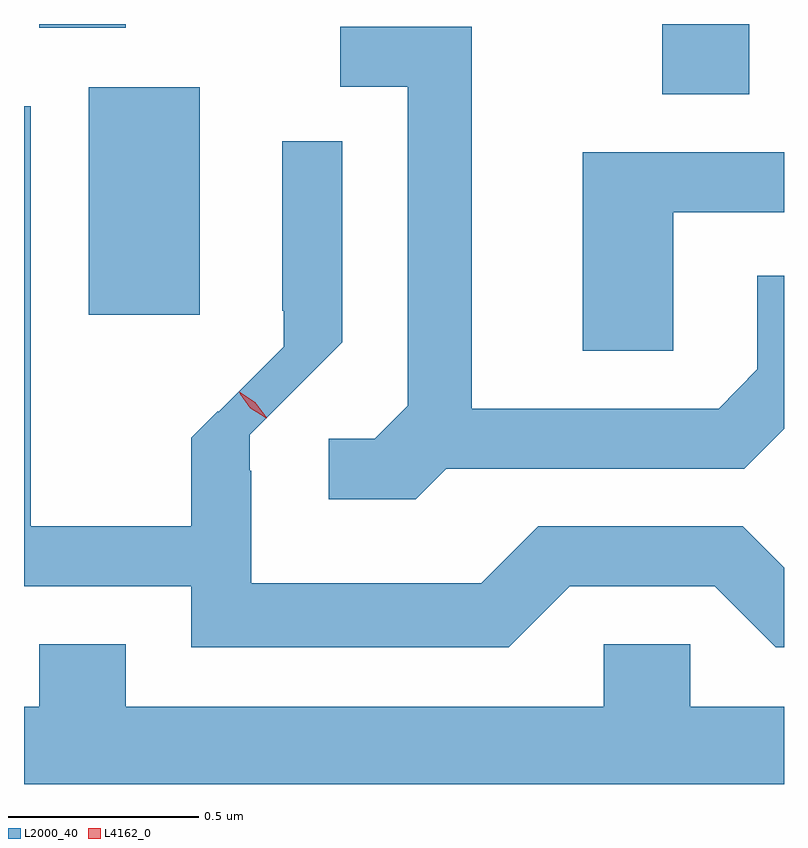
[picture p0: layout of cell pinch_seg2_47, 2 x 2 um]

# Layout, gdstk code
import gdstk
lib = gdstk.Library(unit=1e-6, precision=1e-09)
def R(c, l, rs):  # rectangles x0, y0, x1, y1
    for r in rs: c.add(gdstk.rectangle(r[:2], r[2:], *l))
def P(c, l, *ps):  # polygons
    for p in ps: c.add(gdstk.Polygon(p, *l))
L2000_40 = (2000, 40)
L4162_0 = (4162, 0)

pinch_seg2_47 = lib.new_cell('pinch_seg2_47')
R(pinch_seg2_47, L2000_40, [(1121.361,1031.856,1121.654,1032.454), (1122.871,1032.436,1123.099,1032.621), (1121.231,1032.611,1121.459,1032.621)])
P(pinch_seg2_47, L2000_40, [(1122.302,1031.451),(1123.087,1031.451),(1123.191,1031.556),(1123.191,1031.958),(1123.121,1031.958),(1123.121,1031.712),(1123.019,1031.609),(1122.369,1031.609),(1122.369,1032.614),(1122.023,1032.614),(1122.023,1032.456),(1122.201,1032.456),(1122.201,1031.617),(1122.114,1031.529),(1121.993,1031.529),(1121.993,1031.371),(1122.222,1031.371)],
  [(1122.627,1031.141),(1123.009,1031.141),(1123.169,1030.981),(1123.191,1030.981),(1123.191,1031.19),(1123.082,1031.299),(1122.544,1031.299),(1122.394,1031.149),(1121.789,1031.149),(1121.789,1031.445),(1121.785,1031.445),(1121.785,1031.54),(1122.029,1031.784),(1122.029,1032.313),(1121.871,1032.313),(1121.871,1031.867),(1121.874,1031.867),(1121.874,1031.772),(1121.703,1031.601),(1121.701,1031.602),(1121.631,1031.532),(1121.631,1031.299),(1121.209,1031.299),(1121.209,1032.404),(1121.191,1032.404),(1121.191,1031.141),(1121.631,1031.141),(1121.631,1030.981),(1122.467,1030.981)],
  [(1122.899,1032.126),(1123.191,1032.126),(1123.191,1032.284),(1122.661,1032.284),(1122.661,1031.761),(1122.899,1031.761)],
  [(1123.191,1030.824),(1122.944,1030.824),(1122.944,1030.989),(1122.716,1030.989),(1122.716,1030.824),(1121.459,1030.824),(1121.459,1030.989),(1121.231,1030.989),(1121.231,1030.824),(1121.191,1030.824),(1121.191,1030.621),(1123.191,1030.621)])
P(pinch_seg2_47, L4162_0, [(1121.829,1031.584),(1121.787,1031.611),(1121.757,1031.652),(1121.757,1031.653),(1121.758,1031.653),(1121.8,1031.626),(1121.83,1031.585),(1121.83,1031.584)],
  [(1121.824,1031.586),(1121.786,1031.61),(1121.76,1031.647),(1121.76,1031.648),(1121.76,1031.648),(1121.799,1031.624),(1121.825,1031.587),(1121.825,1031.586)])

lib.write_gds('pinch_seg2_47.gds')
